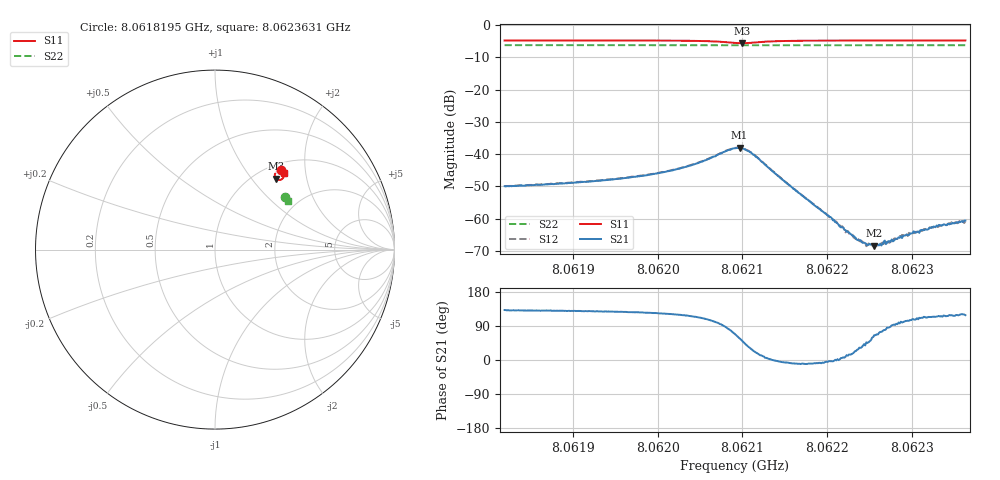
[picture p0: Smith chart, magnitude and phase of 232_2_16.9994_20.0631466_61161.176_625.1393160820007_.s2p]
#  HZ  S  RI  R  50.00
! Rohde & Schwarz Vector Network Analyzer
! Rohde-Schwarz,ZNB20-2Port,1311601062101988,3.16
! Created: UTC 3/20/2024, 11:02:25 PM
! freq[Hz]  re:S11  im:S11  re:S21  im:S21  re:S12  im:S12  re:S22  im:S22
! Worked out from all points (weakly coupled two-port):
!   401 points, 8.0618195 GHz to 8.0623631 GHz, reference 50 ohm
!   highest |S21| = -38.06 dB at 8.0620967 GHz (marker M1); lowest = -68.4 dB at 8.0622557 GHz (marker M2)
!   lowest |S11| = -5.6 dB at 8.0620994 GHz (marker M3), VSWR 3.18, Z = 61.8 + j67 ohm
!   |S11| at or under -10 dB: nowhere
!   |S22| runs from -6.3 to -6.2 dB; largest |S21 - S12| = 0.00095
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8.06181948e9  0.3651 0.4454  -0.00212 0.00237  -0.00198 0.00252  0.3873 0.2958
8.06191054e9  0.3717 0.4394  -0.00232 0.00288  -0.0022 0.00299  0.3906 0.2913
8.06195403e9  0.3753 0.4356  -0.00249 0.00331  -0.00233 0.00348  0.3919 0.2892
8.06200159e9  0.3799 0.4294  -0.00278 0.00425  -0.00255 0.00446  0.3937 0.2867
8.06204237e9  0.3839 0.4186  -0.00286 0.00626  -0.00253 0.00649  0.3948 0.2841
8.06209129e9  0.3568 0.3883  0.00454 0.0114  0.0053 0.0113  0.3948 0.2811
8.06209673e9  0.3465 0.3912  0.00673 0.0105  0.00741 0.0101  0.3946 0.281
8.06209945e9  0.3418 0.3944  0.00766 0.00962  0.00827 0.00908  0.3945 0.2812
8.0621076e9  0.3336 0.408  0.00914 0.0062  0.00956 0.00573  0.3946 0.2814
8.06211575e9  0.3342 0.4215  0.00851 0.00315  0.00898 0.00267  0.3951 0.2816
8.06215109e9  0.3564 0.4395  0.00361 -0.000423  0.00364 -0.000657  0.3976 0.2805
8.06218235e9  0.3667 0.4385  0.0017 -0.000292  0.00167 -0.000408  0.3988 0.2788
8.06223535e9  0.3756 0.4348  0.000415 0.000212  0.000466 0.000178  0.4008 0.2761
8.06224758e9  0.3771 0.434  0.000273 0.000273  0.000306 0.000237  0.4014 0.2756
8.06225574e9  0.3779 0.4335  0.000156 0.000346  0.000207 0.000343  0.4016 0.2751
8.06226253e9  0.3787 0.433  0.000112 0.000391  0.000138 0.000383  0.4018 0.2747
8.0622734e9  0.3797 0.4323  2.84e-05 0.000446  6.14e-05 0.000417  0.4022 0.2741
8.06228835e9  0.3811 0.4313  -7.7e-05 0.000493  -5.11e-05 0.000556  0.4026 0.2732
8.06230059e9  0.3823 0.4304  -0.000182 0.000564  -0.000129 0.000565  0.403 0.2727
8.06232505e9  0.3842 0.4289  -0.000307 0.000682  -0.000257 0.000677  0.4039 0.2714
8.06234951e9  0.386 0.4276  -0.000379 0.00075  -0.000358 0.000776  0.4047 0.2702
8.0623631e9  0.3869 0.4269  -0.000442 0.000822  -0.000411 0.000806  0.4051 0.2694
